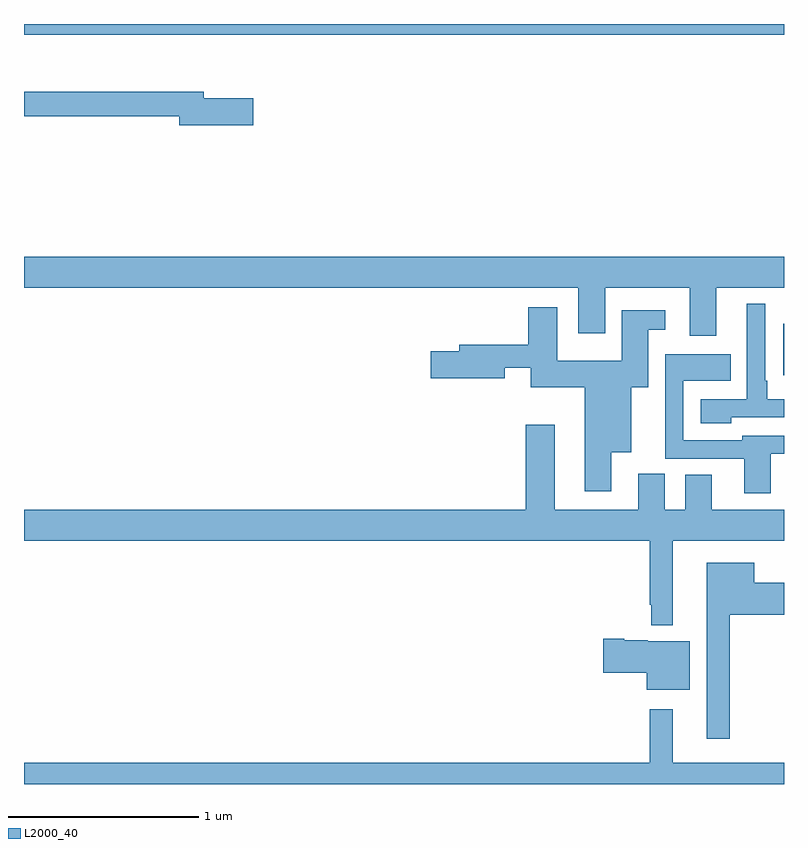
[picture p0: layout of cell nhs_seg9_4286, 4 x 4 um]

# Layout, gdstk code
import gdstk
lib = gdstk.Library(unit=1e-6, precision=1e-09)
def R(c, l, rs):  # rectangles x0, y0, x1, y1
    for r in rs: c.add(gdstk.rectangle(r[:2], r[2:], *l))
def P(c, l, *ps):  # polygons
    for p in ps: c.add(gdstk.Polygon(p, *l))
L2000_40 = (2000, 40)

nhs_seg9_4286 = lib.new_cell('nhs_seg9_4286')
R(nhs_seg9_4286, L2000_40, [(360.995,1170.651,361,1170.922), (357,1172.444,361,1172.5)])
P(nhs_seg9_4286, L2000_40, [(358.207,1172.109),(357.946,1172.109),(357.946,1172.143),(357,1172.143),(357,1172.014),(357.818,1172.014),(357.818,1171.967),(358.207,1171.967)],
  [(360.643,1171.112),(361,1171.112),(361,1171.276),(357,1171.276),(357,1171.112),(359.918,1171.112),(359.918,1170.873),(360.058,1170.873),(360.058,1171.112),(360.503,1171.112),(360.503,1170.858),(360.643,1170.858)],
  [(360.722,1170.429),(361,1170.429),(361,1170.525),(360.913,1170.525),(360.913,1170.622),(360.9,1170.622),(360.9,1171.027),(360.804,1171.027),(360.804,1170.525),(360.561,1170.525),(360.561,1170.398),(360.722,1170.398)],
  [(360.091,1170.245),(360.196,1170.245),(360.196,1170.587),(360.286,1170.587),(360.286,1170.89),(360.376,1170.89),(360.376,1170.994),(360.146,1170.994),(360.146,1170.727),(359.806,1170.727),(359.806,1171.009),(359.654,1171.009),(359.654,1170.811),(359.291,1170.811),(359.291,1170.777),(359.142,1170.777),(359.142,1170.635),(359.53,1170.635),(359.53,1170.69),(359.666,1170.69),(359.666,1170.587),(359.951,1170.587),(359.951,1170.042),(360.091,1170.042)],
  [(360.931,1170.237),(361,1170.237),(361,1170.333),(360.78,1170.333),(360.78,1170.309),(360.471,1170.309),(360.471,1170.623),(360.719,1170.623),(360.719,1170.763),(360.374,1170.763),(360.374,1170.213),(360.791,1170.213),(360.791,1170.029),(360.931,1170.029)],
  [(360.415,1169.78),(361,1169.78),(361,1169.944),(360.619,1169.944),(360.619,1170.128),(360.479,1170.128),(360.479,1169.944),(360.373,1169.944),(360.373,1170.132),(360.233,1170.132),(360.233,1169.944),(359.794,1169.944),(359.794,1170.391),(359.642,1170.391),(359.642,1169.944),(357,1169.944),(357,1169.78),(360.294,1169.78),(360.294,1169.443),(360.301,1169.443),(360.301,1169.336),(360.415,1169.336)],
  [(360.715,1169.39),(361,1169.39),(361,1169.56),(360.844,1169.56),(360.844,1169.665),(360.593,1169.665),(360.593,1168.737),(360.715,1168.737)],
  [(360.505,1169.251),(360.282,1169.251),(360.282,1169.257),(360.16,1169.257),(360.16,1169.264),(360.048,1169.264),(360.048,1169.086),(360.278,1169.086),(360.278,1168.997),(360.505,1168.997)],
  [(361,1168.612),(360.415,1168.612),(360.415,1168.894),(360.294,1168.894),(360.294,1168.612),(357,1168.612),(357,1168.5),(361,1168.5)])

lib.write_gds('nhs_seg9_4286.gds')
